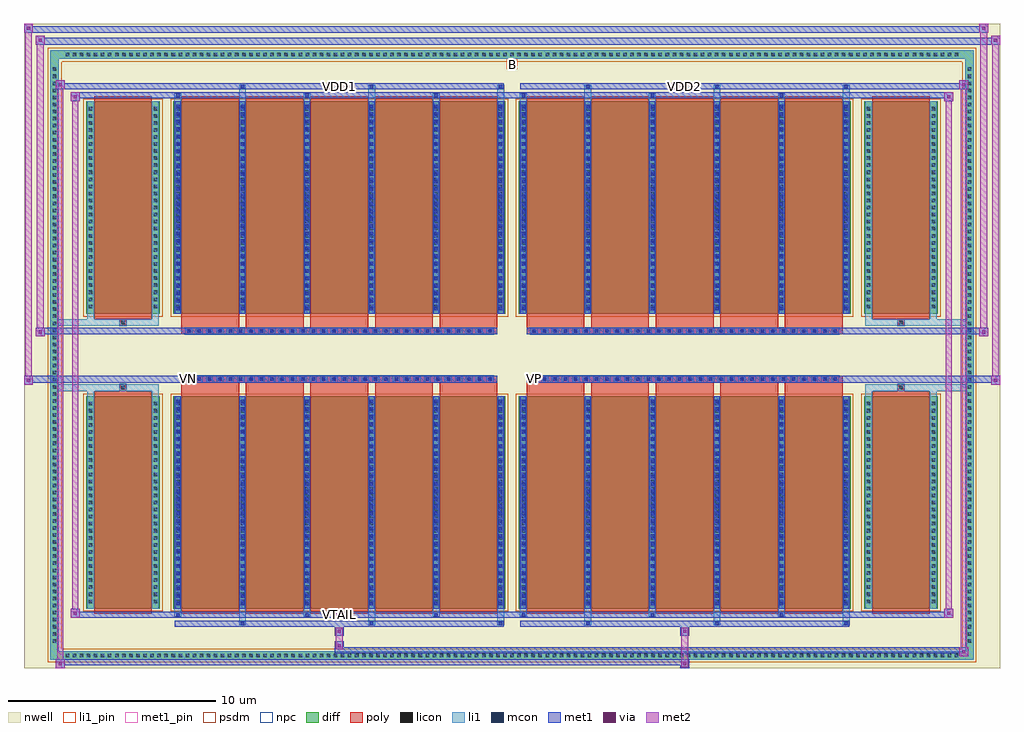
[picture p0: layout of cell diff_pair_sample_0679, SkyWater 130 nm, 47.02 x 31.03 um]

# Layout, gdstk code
import gdstk
lib = gdstk.Library(unit=1e-6, precision=5e-09)
def R(c, l, rs):  # rectangles x0, y0, x1, y1
    for r in rs: c.add(gdstk.rectangle(r[:2], r[2:], *l))
def A(c, l, x, y, w, h, nx, ny, dx, dy):  # array of equal rectangles
    R(c, l, [(x+i*dx, y+j*dy, x+i*dx+w, y+j*dy+h) for i in range(nx) for j in range(ny)])
def P(c, l, *ps):  # polygons
    for p in ps: c.add(gdstk.Polygon(p, *l))
nwell = (64, 20)
diff = (65, 20)
poly = (66, 20)
licon = (66, 44)
li1_pin = (67, 16)
li1 = (67, 20)
mcon = (67, 44)
met1_pin = (68, 16)
met1 = (68, 20)
via = (68, 44)
met2 = (69, 20)
psdm = (94, 20)
npc = (95, 20)

diff_pair_sample_0679 = lib.new_cell('diff_pair_sample_0679')
R(diff_pair_sample_0679, nwell, [(-23.51,-15.08,23.51,15.95), (-20.83,-13.27,-0.01,-0.795), (0.01,-13.27,20.83,-0.795), (-20.83,0.795,-0.01,13.27), (0.01,0.795,20.83,13.27)])
A(diff_pair_sample_0679, diff, -21.625, -14.68, 0.41, 0.41, 127, 2, 0.34, 28.95)
A(diff_pair_sample_0679, diff, -22.24, -13.975, 0.41, 0.41, 1, 82, 0, 0.34)
A(diff_pair_sample_0679, diff, 21.83, -13.975, 0.41, 0.41, 1, 82, 0, 0.34)
R(diff_pair_sample_0679, diff, [(-21.625,-14.68,21.625,-14.27), (-22.24,-13.975,-21.83,13.975), (21.83,-13.975,22.24,13.975), (-20.52,-12.225,-16.96,-1.985), (-16.32,-12.225,-0.32,-1.985), (0.32,-12.225,16.32,-1.985), (16.96,-12.225,20.52,-1.985), (-20.52,1.985,-16.96,12.225), (-16.32,1.985,-0.32,12.225), (0.32,1.985,16.32,12.225), (16.96,1.985,20.52,12.225), (-21.625,14.27,21.625,14.68)])
P(diff_pair_sample_0679, diff, [(22.24,14.68),(-22.24,14.68),(-22.24,-14.27),(-21.83,-14.27),(-21.83,14.27),(21.83,14.27),(21.83,-14.27),(-21.83,-14.27),(-22.24,-14.27),(-22.24,-14.68),(22.24,-14.68)])
A(diff_pair_sample_0679, poly, -15.93, -12.475, 2.78, 10.74, 5, 2, 3.11, 14.21)
A(diff_pair_sample_0679, poly, 0.71, -12.475, 2.78, 10.74, 5, 2, 3.11, 14.21)
A(diff_pair_sample_0679, poly, -15.93, -1.735, 2.78, 0.41, 5, 2, 3.11, 3.06)
A(diff_pair_sample_0679, poly, 0.71, -1.735, 2.78, 0.41, 5, 2, 3.11, 3.06)
A(diff_pair_sample_0679, poly, -15.735, -1.325, 0.33, 0.33, 30, 2, 0.5, 2.32)
A(diff_pair_sample_0679, poly, 0.905, -1.325, 0.33, 0.33, 30, 2, 0.5, 2.32)
R(diff_pair_sample_0679, poly, [(-20.13,-12.475,-17.35,-1.735), (17.35,-12.475,20.13,-1.735), (-18.905,-1.735,-18.575,-1.405), (-18.905,-1.735,-18.575,-1.405), (18.575,-1.735,18.905,-1.405), (18.575,-1.735,18.905,-1.405), (-15.93,-1.325,-0.71,-0.995), (0.71,-1.325,15.93,-0.995), (-15.93,0.995,-0.71,1.325), (0.71,0.995,15.93,1.325), (-18.905,1.405,-18.575,1.735), (-18.905,1.405,-18.575,1.735), (18.575,1.405,18.905,1.735), (18.575,1.405,18.905,1.735), (-20.13,1.735,-17.35,12.475), (17.35,1.735,20.13,12.475)])
A(diff_pair_sample_0679, licon, -21.505, -14.56, 0.17, 0.17, 127, 2, 0.34, 28.95)
A(diff_pair_sample_0679, licon, -22.12, -13.855, 0.17, 0.17, 1, 82, 0, 0.34)
A(diff_pair_sample_0679, licon, 21.95, -13.855, 0.17, 0.17, 1, 82, 0, 0.34)
A(diff_pair_sample_0679, licon, -20.38, -11.95, 0.17, 0.17, 1, 29, 0, 0.34)
A(diff_pair_sample_0679, licon, -17.27, -11.95, 0.17, 0.17, 1, 29, 0, 0.34)
A(diff_pair_sample_0679, licon, -16.18, -11.95, 0.17, 0.17, 6, 29, 3.11, 0.34)
A(diff_pair_sample_0679, licon, 0.46, -11.95, 0.17, 0.17, 6, 29, 3.11, 0.34)
A(diff_pair_sample_0679, licon, 17.1, -11.95, 0.17, 0.17, 1, 29, 0, 0.34)
A(diff_pair_sample_0679, licon, 20.21, -11.95, 0.17, 0.17, 1, 29, 0, 0.34)
A(diff_pair_sample_0679, licon, -15.655, -1.245, 0.17, 0.17, 30, 2, 0.5, 2.32)
A(diff_pair_sample_0679, licon, 0.985, -1.245, 0.17, 0.17, 30, 2, 0.5, 2.32)
A(diff_pair_sample_0679, licon, -20.38, 2.26, 0.17, 0.17, 1, 29, 0, 0.34)
A(diff_pair_sample_0679, licon, -17.27, 2.26, 0.17, 0.17, 1, 29, 0, 0.34)
A(diff_pair_sample_0679, licon, -16.18, 2.26, 0.17, 0.17, 6, 29, 3.11, 0.34)
A(diff_pair_sample_0679, licon, 0.46, 2.26, 0.17, 0.17, 6, 29, 3.11, 0.34)
A(diff_pair_sample_0679, licon, 17.1, 2.26, 0.17, 0.17, 1, 29, 0, 0.34)
A(diff_pair_sample_0679, licon, 20.21, 2.26, 0.17, 0.17, 1, 29, 0, 0.34)
R(diff_pair_sample_0679, licon, [(-18.825,-1.655,-18.655,-1.485), (18.655,-1.655,18.825,-1.485), (-18.825,1.485,-18.655,1.655), (18.655,1.485,18.825,1.655)])
R(diff_pair_sample_0679, li1_pin, [(-0.25,13.77,0.25,14.27)])
A(diff_pair_sample_0679, li1, -21.585, -14.64, 0.33, 0.33, 127, 2, 0.34, 28.95)
A(diff_pair_sample_0679, li1, -22.2, -13.935, 0.33, 0.33, 1, 82, 0, 0.34)
A(diff_pair_sample_0679, li1, 21.87, -13.935, 0.33, 0.33, 1, 82, 0, 0.34)
A(diff_pair_sample_0679, li1, -13.15, -13.03, 0.33, 0.805, 3, 2, 6.22, 25.255)
A(diff_pair_sample_0679, li1, -13.07, -13.03, 0.17, 0.17, 3, 2, 6.22, 25.89)
A(diff_pair_sample_0679, li1, 3.49, -13.03, 0.33, 0.805, 3, 2, 6.22, 25.255)
A(diff_pair_sample_0679, li1, 3.57, -13.03, 0.17, 0.17, 3, 2, 6.22, 25.89)
A(diff_pair_sample_0679, li1, -16.26, -12.6, 0.33, 0.375, 3, 2, 6.22, 24.825)
A(diff_pair_sample_0679, li1, -16.18, -12.6, 0.17, 0.17, 3, 2, 6.22, 25.03)
A(diff_pair_sample_0679, li1, 0.38, -12.6, 0.33, 0.375, 3, 2, 6.22, 24.825)
A(diff_pair_sample_0679, li1, 0.46, -12.6, 0.17, 0.17, 3, 2, 6.22, 25.03)
A(diff_pair_sample_0679, li1, -16.26, -12.225, 0.33, 10.24, 6, 2, 3.11, 14.21)
A(diff_pair_sample_0679, li1, 0.38, -12.225, 0.33, 10.24, 6, 2, 3.11, 14.21)
A(diff_pair_sample_0679, li1, -16.18, -12.05, 0.17, 0.17, 6, 28, 3.11, 0.36)
A(diff_pair_sample_0679, li1, -16.18, -12.05, 0.17, 9.89, 6, 2, 3.11, 14.21)
A(diff_pair_sample_0679, li1, 0.46, -12.05, 0.17, 0.17, 6, 28, 3.11, 0.36)
A(diff_pair_sample_0679, li1, 0.46, -12.05, 0.17, 9.89, 6, 2, 3.11, 14.21)
A(diff_pair_sample_0679, li1, -20.46, -12.03, 0.33, 0.33, 1, 29, 0, 0.34)
A(diff_pair_sample_0679, li1, -17.35, -12.03, 0.33, 0.33, 1, 29, 0, 0.34)
A(diff_pair_sample_0679, li1, -16.26, -12.03, 0.33, 0.33, 6, 29, 3.11, 0.34)
A(diff_pair_sample_0679, li1, 0.38, -12.03, 0.33, 0.33, 6, 29, 3.11, 0.34)
A(diff_pair_sample_0679, li1, 17.02, -12.03, 0.33, 0.33, 1, 29, 0, 0.34)
A(diff_pair_sample_0679, li1, 20.13, -12.03, 0.33, 0.33, 1, 29, 0, 0.34)
A(diff_pair_sample_0679, li1, -15.735, -1.325, 0.33, 0.33, 30, 2, 0.5, 2.32)
A(diff_pair_sample_0679, li1, 0.905, -1.325, 0.33, 0.33, 30, 2, 0.5, 2.32)
A(diff_pair_sample_0679, li1, -16.18, 2.16, 0.17, 0.17, 6, 28, 3.11, 0.36)
A(diff_pair_sample_0679, li1, 0.46, 2.16, 0.17, 0.17, 6, 28, 3.11, 0.36)
A(diff_pair_sample_0679, li1, -20.46, 2.18, 0.33, 0.33, 1, 29, 0, 0.34)
A(diff_pair_sample_0679, li1, -17.35, 2.18, 0.33, 0.33, 1, 29, 0, 0.34)
A(diff_pair_sample_0679, li1, -16.26, 2.18, 0.33, 0.33, 6, 29, 3.11, 0.34)
A(diff_pair_sample_0679, li1, 0.38, 2.18, 0.33, 0.33, 6, 29, 3.11, 0.34)
A(diff_pair_sample_0679, li1, 17.02, 2.18, 0.33, 0.33, 1, 29, 0, 0.34)
A(diff_pair_sample_0679, li1, 20.13, 2.18, 0.33, 0.33, 1, 29, 0, 0.34)
R(diff_pair_sample_0679, li1, [(-22.24,-14.68,-21.83,-14.27), (-22.24,-14.68,-21.83,-14.27), (-21.83,-14.68,21.83,-14.27), (21.83,-14.68,22.24,-14.27), (21.83,-14.68,22.24,-14.27), (-22.24,-14.27,-21.83,14.27), (21.83,-14.27,22.24,14.27), (-20.46,-12.225,-20.13,-1.985), (-17.35,-12.225,-17.02,-1.985), (17.02,-12.225,17.35,-1.985), (20.13,-12.225,20.46,-1.985), (-20.46,-1.985,-20.13,-1.405), (-17.35,-1.985,-17.02,-1.405), (17.02,-1.985,17.35,-1.405), (20.13,-1.985,20.46,-1.405), (-22.24,-1.735,-18.905,-1.405), (-20.46,-1.735,-18.905,-1.405), (-18.905,-1.735,-18.575,-1.405), (-18.575,-1.735,-17.02,-1.405), (17.02,-1.735,18.575,-1.405), (18.575,-1.735,18.905,-1.405), (18.575,-1.735,22.24,-1.405), (18.905,-1.735,20.46,-1.405), (-22.24,1.405,-18.905,1.735), (-20.46,1.405,-18.905,1.735), (-20.46,1.405,-20.13,1.985), (-18.905,1.405,-18.575,1.735), (-18.575,1.405,-17.02,1.735), (-17.35,1.405,-17.02,1.985), (17.02,1.405,18.575,1.735), (17.02,1.405,17.35,1.985), (18.575,1.405,18.905,1.735), (18.575,1.405,22.24,1.735), (18.905,1.405,20.46,1.735), (20.13,1.405,20.46,1.985), (-20.46,1.985,-20.13,12.225), (-17.35,1.985,-17.02,12.225), (17.02,1.985,17.35,12.225), (20.13,1.985,20.46,12.225), (-22.24,14.27,-21.83,14.68), (-22.24,14.27,-21.83,14.68), (-21.83,14.27,21.83,14.68), (21.83,14.27,22.24,14.68), (21.83,14.27,22.24,14.68)])
A(diff_pair_sample_0679, mcon, -13.07, -13.03, 0.17, 0.17, 3, 2, 6.22, 25.89)
A(diff_pair_sample_0679, mcon, 3.57, -13.03, 0.17, 0.17, 3, 2, 6.22, 25.89)
A(diff_pair_sample_0679, mcon, -16.18, -12.6, 0.17, 0.17, 3, 2, 6.22, 25.03)
A(diff_pair_sample_0679, mcon, 0.46, -12.6, 0.17, 0.17, 3, 2, 6.22, 25.03)
A(diff_pair_sample_0679, mcon, -16.18, -12.05, 0.17, 0.17, 6, 28, 3.11, 0.36)
A(diff_pair_sample_0679, mcon, 0.46, -12.05, 0.17, 0.17, 6, 28, 3.11, 0.36)
A(diff_pair_sample_0679, mcon, -15.655, -1.245, 0.17, 0.17, 30, 2, 0.5, 2.32)
A(diff_pair_sample_0679, mcon, 0.985, -1.245, 0.17, 0.17, 30, 2, 0.5, 2.32)
A(diff_pair_sample_0679, mcon, -16.18, 2.16, 0.17, 0.17, 6, 28, 3.11, 0.36)
A(diff_pair_sample_0679, mcon, 0.46, 2.16, 0.17, 0.17, 6, 28, 3.11, 0.36)
R(diff_pair_sample_0679, met1_pin, [(-8.455,-12.64,-8.185,-12.37), (-15.705,-1.285,-15.435,-1.015), (0.935,-1.285,1.205,-1.015), (-8.455,12.82,-8.185,13.09), (8.185,12.82,8.455,13.09)])
A(diff_pair_sample_0679, met1, -13.13, -13.09, 0.29, 0.29, 3, 2, 6.22, 25.89)
A(diff_pair_sample_0679, met1, 3.51, -13.09, 0.29, 0.29, 3, 2, 6.22, 25.89)
A(diff_pair_sample_0679, met1, -16.24, -12.66, 0.29, 0.29, 3, 2, 6.22, 25.03)
A(diff_pair_sample_0679, met1, 0.4, -12.66, 0.29, 0.29, 3, 2, 6.22, 25.03)
A(diff_pair_sample_0679, met1, -16.24, -12.225, 0.29, 10.24, 6, 2, 3.11, 14.21)
A(diff_pair_sample_0679, met1, 0.4, -12.225, 0.29, 10.24, 6, 2, 3.11, 14.21)
A(diff_pair_sample_0679, met1, -16.24, -12.11, 0.29, 0.29, 6, 28, 3.11, 0.36)
A(diff_pair_sample_0679, met1, 0.4, -12.11, 0.29, 0.29, 6, 28, 3.11, 0.36)
A(diff_pair_sample_0679, met1, -15.715, -1.305, 0.29, 0.29, 30, 2, 0.5, 2.32)
A(diff_pair_sample_0679, met1, 0.925, -1.305, 0.29, 0.29, 30, 2, 0.5, 2.32)
A(diff_pair_sample_0679, met1, -16.24, 2.1, 0.29, 0.29, 6, 28, 3.11, 0.36)
A(diff_pair_sample_0679, met1, 0.4, 2.1, 0.29, 0.29, 6, 28, 3.11, 0.36)
R(diff_pair_sample_0679, met1, [(-21.97,-15.08,-21.54,-14.65), (8.105,-15.08,8.535,-14.65), (-21.97,-14.94,8.535,-14.65), (21.54,-14.51,21.97,-14.08), (-8.535,-14.37,21.97,-14.08), (-8.535,-14.23,-8.105,-13.8), (-8.535,-13.52,-8.105,-13.09), (8.105,-13.52,8.535,-13.09), (-16.24,-13.09,-0.4,-12.8), (0.4,-13.09,16.24,-12.8), (-21.26,-12.66,-20.83,-12.23), (-21.26,-12.66,-16.24,-12.37), (-16.24,-12.66,-0.4,-12.37), (-0.4,-12.66,0.4,-12.37), (0.4,-12.66,16.24,-12.37), (16.24,-12.66,21.26,-12.37), (20.83,-12.66,21.26,-12.23), (-23.51,-1.425,-23.08,-0.995), (23.08,-1.425,23.51,-0.995), (-23.51,-1.325,-0.71,-0.995), (-15.93,-1.325,-0.71,-0.995), (0.71,-1.325,15.93,-0.995), (0.71,-1.325,23.51,-0.995), (-22.94,0.895,-22.51,1.325), (22.51,0.895,22.94,1.325), (-22.94,0.995,-15.93,1.325), (-15.93,0.995,-0.71,1.325), (0.71,0.995,15.93,1.325), (15.93,0.995,22.94,1.325), (-21.26,12.23,-20.83,12.66), (20.83,12.23,21.26,12.66), (-21.26,12.37,-16.24,12.66), (-16.24,12.37,-0.4,12.66), (-0.4,12.37,0.4,12.66), (0.4,12.37,16.24,12.66), (16.24,12.37,21.26,12.66), (-21.97,12.8,-21.54,13.23), (-21.97,12.8,-16.24,13.09), (-16.24,12.8,-0.4,13.09), (0.4,12.8,16.24,13.09), (16.24,12.8,21.97,13.09), (21.54,12.8,21.97,13.23), (-22.94,14.95,-22.51,15.38), (-22.94,14.95,-20.83,15.28), (-20.83,14.95,20.83,15.28), (20.83,14.95,23.51,15.28), (23.08,14.95,23.51,15.38), (-23.51,15.52,-23.08,15.95), (-23.51,15.52,-20.83,15.85), (-20.83,15.52,20.83,15.85), (20.83,15.52,22.94,15.85), (22.51,15.52,22.94,15.95)])
R(diff_pair_sample_0679, via, [(-21.83,-14.94,-21.68,-14.79), (8.245,-14.94,8.395,-14.79), (21.68,-14.37,21.83,-14.22), (-8.395,-14.09,-8.245,-13.94), (-8.395,-13.38,-8.245,-13.23), (8.245,-13.38,8.395,-13.23), (-21.12,-12.52,-20.97,-12.37), (20.97,-12.52,21.12,-12.37), (-23.37,-1.285,-23.22,-1.135), (23.22,-1.285,23.37,-1.135), (-22.8,1.035,-22.65,1.185), (22.65,1.035,22.8,1.185), (-21.12,12.37,-20.97,12.52), (20.97,12.37,21.12,12.52), (-21.83,12.94,-21.68,13.09), (21.68,12.94,21.83,13.09), (-22.8,15.09,-22.65,15.24), (23.22,15.09,23.37,15.24), (-23.37,15.66,-23.22,15.81), (22.65,15.66,22.8,15.81)])
R(diff_pair_sample_0679, met2, [(-21.97,-15.08,-21.54,-14.65), (-21.9,-15.08,-21.61,13.23), (-21.61,-15.08,-21.54,-14.65), (-21.92,-15.03,-21.59,-14.7), (8.155,-15.03,8.485,-14.7), (8.155,-14.7,8.485,-13.47), (21.54,-14.51,21.97,-14.08), (21.61,-14.51,21.9,13.23), (21.9,-14.51,21.97,-14.08), (21.59,-14.46,21.92,-14.13), (-8.485,-14.18,-8.155,-13.85), (-8.485,-13.85,-8.155,-13.47), (-8.485,-13.47,-8.155,-13.14), (8.155,-13.47,8.485,-13.14), (-21.26,-12.66,-20.83,-12.23), (-21.19,-12.66,-20.9,12.66), (-20.9,-12.66,-20.83,-12.23), (20.83,-12.66,21.26,-12.23), (20.9,-12.66,21.19,12.66), (21.19,-12.66,21.26,-12.23), (-21.21,-12.61,-20.88,-12.28), (20.88,-12.61,21.21,-12.28), (-23.51,-1.425,-23.08,-0.995), (-23.46,-1.425,-23.13,15.95), (-23.13,-1.425,-23.08,-0.995), (23.08,-1.425,23.51,-0.995), (23.13,-1.425,23.46,15.38), (23.46,-1.425,23.51,-0.995), (-23.46,-1.375,-23.13,-1.045), (23.13,-1.375,23.46,-1.045), (-22.94,0.895,-22.51,1.325), (-22.89,0.895,-22.56,15.38), (-22.56,0.895,-22.51,1.325), (22.51,0.895,22.94,1.325), (22.56,0.895,22.89,15.95), (22.89,0.895,22.94,1.325), (-22.89,0.945,-22.56,1.275), (22.56,0.945,22.89,1.275), (-21.26,12.23,-20.83,12.66), (-20.9,12.23,-20.83,12.66), (20.83,12.23,21.26,12.66), (21.19,12.23,21.26,12.66), (-21.21,12.28,-20.88,12.61), (20.88,12.28,21.21,12.61), (-21.97,12.8,-21.54,13.23), (-21.61,12.8,-21.54,13.23), (21.54,12.8,21.97,13.23), (21.9,12.8,21.97,13.23), (-21.92,12.85,-21.59,13.18), (21.59,12.85,21.92,13.18), (-22.94,14.95,-22.51,15.38), (-22.56,14.95,-22.51,15.38), (23.08,14.95,23.51,15.38), (23.46,14.95,23.51,15.38), (-22.89,15,-22.56,15.33), (23.13,15,23.46,15.33), (-23.51,15.52,-23.08,15.95), (-23.13,15.52,-23.08,15.95), (22.51,15.52,22.94,15.95), (22.89,15.52,22.94,15.95), (-23.46,15.57,-23.13,15.9), (22.56,15.57,22.89,15.9)])
R(diff_pair_sample_0679, psdm, [(-20.65,-12.355,-16.83,-1.855), (-16.45,-12.355,-0.19,-1.855), (0.19,-12.355,16.45,-1.855), (16.83,-12.355,20.65,-1.855), (-20.65,1.855,-16.83,12.355), (-16.45,1.855,-0.19,12.355), (0.19,1.855,16.45,12.355), (16.83,1.855,20.65,12.355)])
P(diff_pair_sample_0679, psdm, [(22.37,14.81),(-22.37,14.81),(-22.37,-14.14),(-21.7,-14.14),(-21.7,14.14),(21.7,14.14),(21.7,-14.14),(-21.7,-14.14),(-22.37,-14.14),(-22.37,-14.81),(22.37,-14.81)])
A(diff_pair_sample_0679, npc, -15.755, -1.345, 0.37, 0.37, 30, 2, 0.5, 2.32)
A(diff_pair_sample_0679, npc, 0.885, -1.345, 0.37, 0.37, 30, 2, 0.5, 2.32)
R(diff_pair_sample_0679, npc, [(-18.925,-1.755,-18.555,-1.385), (18.555,-1.755,18.925,-1.385), (-15.755,-1.345,-14.885,-0.975), (-15.755,-1.345,-14.885,-0.975), (-15.255,-1.345,-14.385,-0.975), (-15.255,-1.345,-14.385,-0.975), (-14.755,-1.345,-13.885,-0.975), (-14.755,-1.345,-13.885,-0.975), (-14.255,-1.345,-13.385,-0.975), (-14.255,-1.345,-13.385,-0.975), (-13.755,-1.345,-12.885,-0.975), (-13.755,-1.345,-12.885,-0.975), (-13.255,-1.345,-12.385,-0.975), (-13.255,-1.345,-12.385,-0.975), (-12.755,-1.345,-11.885,-0.975), (-12.755,-1.345,-11.885,-0.975), (-12.255,-1.345,-11.385,-0.975), (-12.255,-1.345,-11.385,-0.975), (-11.755,-1.345,-10.885,-0.975), (-11.755,-1.345,-10.885,-0.975), (-11.255,-1.345,-10.385,-0.975), (-11.255,-1.345,-10.385,-0.975), (-10.755,-1.345,-9.885,-0.975), (-10.755,-1.345,-9.885,-0.975), (-10.255,-1.345,-9.385,-0.975), (-10.255,-1.345,-9.385,-0.975), (-9.755,-1.345,-8.885,-0.975), (-9.755,-1.345,-8.885,-0.975), (-9.255,-1.345,-8.385,-0.975), (-9.255,-1.345,-8.385,-0.975), (-8.755,-1.345,-7.885,-0.975), (-8.755,-1.345,-7.885,-0.975), (-8.255,-1.345,-7.385,-0.975), (-8.255,-1.345,-7.385,-0.975), (-7.755,-1.345,-6.885,-0.975), (-7.755,-1.345,-6.885,-0.975), (-7.255,-1.345,-6.385,-0.975), (-7.255,-1.345,-6.385,-0.975), (-6.755,-1.345,-5.885,-0.975), (-6.755,-1.345,-5.885,-0.975), (-6.255,-1.345,-5.385,-0.975), (-6.255,-1.345,-5.385,-0.975), (-5.755,-1.345,-4.885,-0.975), (-5.755,-1.345,-4.885,-0.975), (-5.255,-1.345,-4.385,-0.975), (-5.255,-1.345,-4.385,-0.975), (-4.755,-1.345,-3.885,-0.975), (-4.755,-1.345,-3.885,-0.975), (-4.255,-1.345,-3.385,-0.975), (-4.255,-1.345,-3.385,-0.975), (-3.755,-1.345,-2.885,-0.975), (-3.755,-1.345,-2.885,-0.975), (-3.255,-1.345,-2.385,-0.975), (-3.255,-1.345,-2.385,-0.975), (-2.755,-1.345,-1.885,-0.975), (-2.755,-1.345,-1.885,-0.975), (-2.255,-1.345,-1.385,-0.975), (-2.255,-1.345,-1.385,-0.975), (-1.755,-1.345,-0.885,-0.975), (-1.755,-1.345,-0.885,-0.975), (0.885,-1.345,1.755,-0.975), (0.885,-1.345,1.755,-0.975), (1.385,-1.345,2.255,-0.975), (1.385,-1.345,2.255,-0.975), (1.885,-1.345,2.755,-0.975), (1.885,-1.345,2.755,-0.975), (2.385,-1.345,3.255,-0.975), (2.385,-1.345,3.255,-0.975), (2.885,-1.345,3.755,-0.975), (2.885,-1.345,3.755,-0.975), (3.385,-1.345,4.255,-0.975), (3.385,-1.345,4.255,-0.975), (3.885,-1.345,4.755,-0.975), (3.885,-1.345,4.755,-0.975), (4.385,-1.345,5.255,-0.975), (4.385,-1.345,5.255,-0.975), (4.885,-1.345,5.755,-0.975), (4.885,-1.345,5.755,-0.975), (5.385,-1.345,6.255,-0.975), (5.385,-1.345,6.255,-0.975), (5.885,-1.345,6.755,-0.975), (5.885,-1.345,6.755,-0.975), (6.385,-1.345,7.255,-0.975), (6.385,-1.345,7.255,-0.975), (6.885,-1.345,7.755,-0.975), (6.885,-1.345,7.755,-0.975), (7.385,-1.345,8.255,-0.975), (7.385,-1.345,8.255,-0.975), (7.885,-1.345,8.755,-0.975), (7.885,-1.345,8.755,-0.975), (8.385,-1.345,9.255,-0.975), (8.385,-1.345,9.255,-0.975), (8.885,-1.345,9.755,-0.975), (8.885,-1.345,9.755,-0.975), (9.385,-1.345,10.255,-0.975), (9.385,-1.345,10.255,-0.975), (9.885,-1.345,10.755,-0.975), (9.885,-1.345,10.755,-0.975), (10.385,-1.345,11.255,-0.975), (10.385,-1.345,11.255,-0.975), (10.885,-1.345,11.755,-0.975), (10.885,-1.345,11.755,-0.975), (11.385,-1.345,12.255,-0.975), (11.385,-1.345,12.255,-0.975), (11.885,-1.345,12.755,-0.975), (11.885,-1.345,12.755,-0.975), (12.385,-1.345,13.255,-0.975), (12.385,-1.345,13.255,-0.975), (12.885,-1.345,13.755,-0.975), (12.885,-1.345,13.755,-0.975), (13.385,-1.345,14.255,-0.975), (13.385,-1.345,14.255,-0.975), (13.885,-1.345,14.755,-0.975), (13.885,-1.345,14.755,-0.975), (14.385,-1.345,15.255,-0.975), (14.385,-1.345,15.255,-0.975), (14.885,-1.345,15.755,-0.975), (14.885,-1.345,15.755,-0.975), (-15.755,0.975,-14.885,1.345), (-15.755,0.975,-14.885,1.345), (-15.255,0.975,-14.385,1.345), (-15.255,0.975,-14.385,1.345), (-14.755,0.975,-13.885,1.345), (-14.755,0.975,-13.885,1.345), (-14.255,0.975,-13.385,1.345), (-14.255,0.975,-13.385,1.345), (-13.755,0.975,-12.885,1.345), (-13.755,0.975,-12.885,1.345), (-13.255,0.975,-12.385,1.345), (-13.255,0.975,-12.385,1.345), (-12.755,0.975,-11.885,1.345), (-12.755,0.975,-11.885,1.345), (-12.255,0.975,-11.385,1.345), (-12.255,0.975,-11.385,1.345), (-11.755,0.975,-10.885,1.345), (-11.755,0.975,-10.885,1.345), (-11.255,0.975,-10.385,1.345), (-11.255,0.975,-10.385,1.345), (-10.755,0.975,-9.885,1.345), (-10.755,0.975,-9.885,1.345), (-10.255,0.975,-9.385,1.345), (-10.255,0.975,-9.385,1.345), (-9.755,0.975,-8.885,1.345), (-9.755,0.975,-8.885,1.345), (-9.255,0.975,-8.385,1.345), (-9.255,0.975,-8.385,1.345), (-8.755,0.975,-7.885,1.345), (-8.755,0.975,-7.885,1.345), (-8.255,0.975,-7.385,1.345), (-8.255,0.975,-7.385,1.345), (-7.755,0.975,-6.885,1.345), (-7.755,0.975,-6.885,1.345), (-7.255,0.975,-6.385,1.345), (-7.255,0.975,-6.385,1.345), (-6.755,0.975,-5.885,1.345), (-6.755,0.975,-5.885,1.345), (-6.255,0.975,-5.385,1.345), (-6.255,0.975,-5.385,1.345), (-5.755,0.975,-4.885,1.345), (-5.755,0.975,-4.885,1.345), (-5.255,0.975,-4.385,1.345), (-5.255,0.975,-4.385,1.345), (-4.755,0.975,-3.885,1.345), (-4.755,0.975,-3.885,1.345), (-4.255,0.975,-3.385,1.345), (-4.255,0.975,-3.385,1.345), (-3.755,0.975,-2.885,1.345), (-3.755,0.975,-2.885,1.345), (-3.255,0.975,-2.385,1.345), (-3.255,0.975,-2.385,1.345), (-2.755,0.975,-1.885,1.345), (-2.755,0.975,-1.885,1.345), (-2.255,0.975,-1.385,1.345), (-2.255,0.975,-1.385,1.345), (-1.755,0.975,-0.885,1.345), (-1.755,0.975,-0.885,1.345), (0.885,0.975,1.755,1.345), (0.885,0.975,1.755,1.345), (1.385,0.975,2.255,1.345), (1.385,0.975,2.255,1.345), (1.885,0.975,2.755,1.345), (1.885,0.975,2.755,1.345), (2.385,0.975,3.255,1.345), (2.385,0.975,3.255,1.345), (2.885,0.975,3.755,1.345), (2.885,0.975,3.755,1.345), (3.385,0.975,4.255,1.345), (3.385,0.975,4.255,1.345), (3.885,0.975,4.755,1.345), (3.885,0.975,4.755,1.345), (4.385,0.975,5.255,1.345), (4.385,0.975,5.255,1.345), (4.885,0.975,5.755,1.345), (4.885,0.975,5.755,1.345), (5.385,0.975,6.255,1.345), (5.385,0.975,6.255,1.345), (5.885,0.975,6.755,1.345), (5.885,0.975,6.755,1.345), (6.385,0.975,7.255,1.345), (6.385,0.975,7.255,1.345), (6.885,0.975,7.755,1.345), (6.885,0.975,7.755,1.345), (7.385,0.975,8.255,1.345), (7.385,0.975,8.255,1.345), (7.885,0.975,8.755,1.345), (7.885,0.975,8.755,1.345), (8.385,0.975,9.255,1.345), (8.385,0.975,9.255,1.345), (8.885,0.975,9.755,1.345), (8.885,0.975,9.755,1.345), (9.385,0.975,10.255,1.345), (9.385,0.975,10.255,1.345), (9.885,0.975,10.755,1.345), (9.885,0.975,10.755,1.345), (10.385,0.975,11.255,1.345), (10.385,0.975,11.255,1.345), (10.885,0.975,11.755,1.345), (10.885,0.975,11.755,1.345), (11.385,0.975,12.255,1.345), (11.385,0.975,12.255,1.345), (11.885,0.975,12.755,1.345), (11.885,0.975,12.755,1.345), (12.385,0.975,13.255,1.345), (12.385,0.975,13.255,1.345), (12.885,0.975,13.755,1.345), (12.885,0.975,13.755,1.345), (13.385,0.975,14.255,1.345), (13.385,0.975,14.255,1.345), (13.885,0.975,14.755,1.345), (13.885,0.975,14.755,1.345), (14.385,0.975,15.255,1.345), (14.385,0.975,15.255,1.345), (14.885,0.975,15.755,1.345), (14.885,0.975,15.755,1.345), (-18.925,1.385,-18.555,1.755), (18.555,1.385,18.925,1.755)])
diff_pair_sample_0679.add(gdstk.Label('VTAIL', (-8.32,-12.505), layer=68, texttype=5))
diff_pair_sample_0679.add(gdstk.Label('VN', (-15.57,-1.15), layer=68, texttype=5))
diff_pair_sample_0679.add(gdstk.Label('VP', (1.07,-1.15), layer=68, texttype=5))
diff_pair_sample_0679.add(gdstk.Label('B', (0,14.02), layer=67, texttype=5))
diff_pair_sample_0679.add(gdstk.Label('VDD2', (8.32,12.955), layer=68, texttype=5))
diff_pair_sample_0679.add(gdstk.Label('VDD1', (-8.32,12.955), layer=68, texttype=5))

lib.write_gds('diff_pair_sample_0679.gds')
